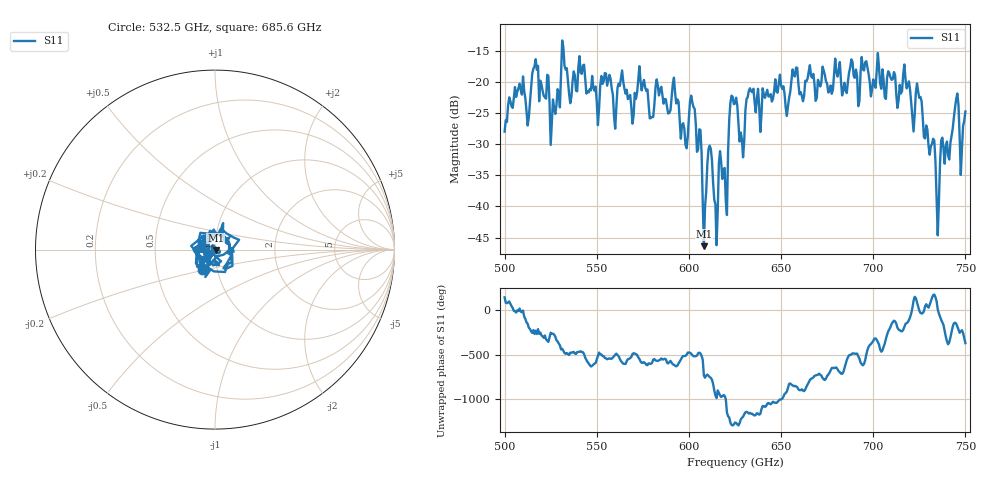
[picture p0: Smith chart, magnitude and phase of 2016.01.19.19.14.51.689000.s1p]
!Created with skrf (http://scikit-rf.org).
# GHz S RI R 50.0
!freq ReS11 ImS11
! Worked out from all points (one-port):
!   401 points, 500 GHz to 750 GHz, reference 50 ohm
!   lowest |S11| = -46.4 dB at 608.1 GHz (marker M1), VSWR 1.01, Z = 50.5 - j0.142 ohm
!   |S11| at or under -10 dB: start of sweep to end of sweep
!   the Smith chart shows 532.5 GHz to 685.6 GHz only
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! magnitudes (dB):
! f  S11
! 500 GHz  -28.0
! 508.8 GHz  -21.2
! 513.1 GHz  -25.7
! 516.9 GHz  -16.3
! 526.2 GHz  -22.8
! 531.2 GHz  -13.3
! 559.4 GHz  -25.5
! 562.5 GHz  -20.6
! 593.8 GHz  -22.8
! 598.1 GHz  -30.1
! 601.9 GHz  -23.3
! 608.1 GHz  -46.4
! 611.2 GHz  -30.2
! 614.4 GHz  -39.7
! 617.5 GHz  -32.9
! 619.4 GHz  -33.8
! 623.1 GHz  -22.2
! 625 GHz  -23.4
! 628.8 GHz  -29.2
! 633.8 GHz  -21.5
! 656.2 GHz  -18.0
! 687.5 GHz  -17.7
! 718.8 GHz  -20.5
! 725 GHz  -22.6
! 735 GHz  -44.6
! 745 GHz  -22.7
! 748.1 GHz  -30.7
! 750 GHz  -24.7
